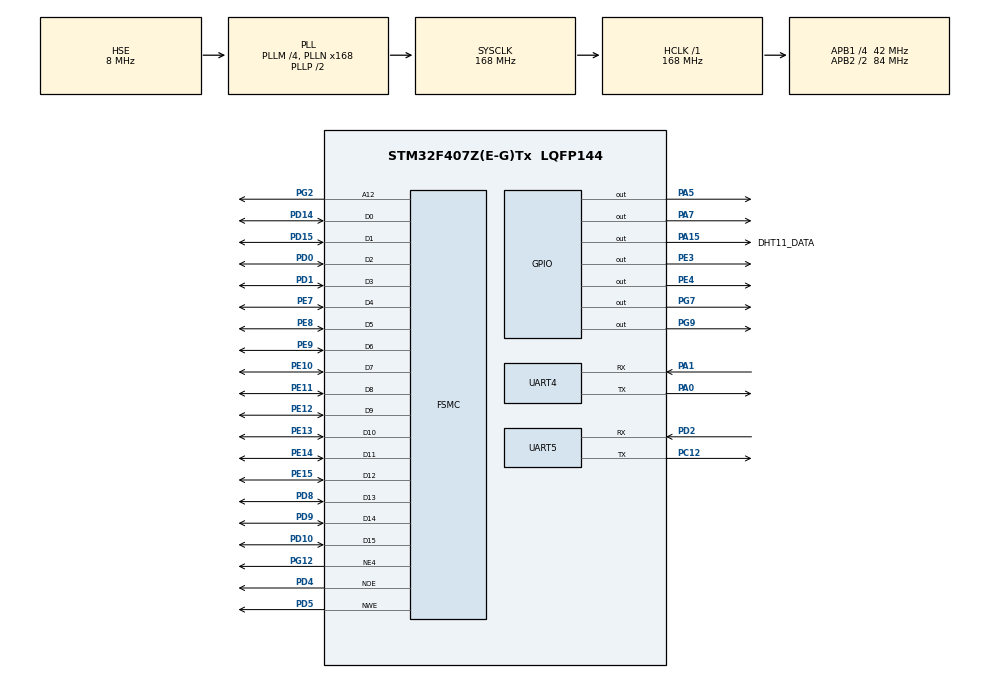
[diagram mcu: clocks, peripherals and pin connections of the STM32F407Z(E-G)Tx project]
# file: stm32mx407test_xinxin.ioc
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FSMC.BusTurnAroundDuration4=0
FSMC.DataSetupTime4=60
Mcu.Family=STM32F4
Mcu.Name=STM32F407Z(E-G)Tx
Mcu.Package=LQFP144
NVIC.PriorityGroup=NVIC_PRIORITYGROUP_4
NVIC.UART4_IRQn=true\:0\:0\:false\:false\:true\:true\:true\:true
NVIC.UART5_IRQn=true\:1\:0\:true\:false\:true\:true\:true\:true
PA0-WKUP.Mode=Asynchronous
PA0-WKUP.Signal=UART4_TX
PA1.Mode=Asynchronous
PA1.Signal=UART4_RX
PA13.Mode=Serial_Wire
PA13.Signal=SYS_JTMS-SWDIO
PA14.Mode=Serial_Wire
PA14.Signal=SYS_JTCK-SWCLK
PA15.GPIO_Label=DHT11_DATA
PA15.GPIO_ModeDefaultOutputPP=GPIO_MODE_OUTPUT_OD
PA15.GPIO_PuPd=GPIO_NOPULL
PA15.GPIO_Speed=GPIO_SPEED_FREQ_HIGH
PA15.PinState=GPIO_PIN_SET
PA15.Signal=GPIO_Output
PA5.PinState=GPIO_PIN_RESET
PA5.Signal=GPIO_Output
PA7.PinState=GPIO_PIN_RESET
PA7.Signal=GPIO_Output
PC12.Mode=Asynchronous
PC12.Signal=UART5_TX
PD0.Signal=FSMC_D2_DA2
PD1.Signal=FSMC_D3_DA3
PD10.Signal=FSMC_D15_DA15
PD14.Signal=FSMC_D0_DA0
PD15.Signal=FSMC_D1_DA1
PD2.Mode=Asynchronous
PD2.Signal=UART5_RX
PD4.Signal=FSMC_NOE
PD5.Signal=FSMC_NWE
PD8.Signal=FSMC_D13_DA13
PD9.Signal=FSMC_D14_DA14
PE10.Signal=FSMC_D7_DA7
PE11.Signal=FSMC_D8_DA8
PE12.Signal=FSMC_D9_DA9
PE13.Signal=FSMC_D10_DA10
PE14.Signal=FSMC_D11_DA11
PE15.Signal=FSMC_D12_DA12
PE3.PinState=GPIO_PIN_SET
PE3.Signal=GPIO_Output
PE4.PinState=GPIO_PIN_SET
PE4.Signal=GPIO_Output
PE7.Signal=FSMC_D4_DA4
PE8.Signal=FSMC_D5_DA5
PE9.Signal=FSMC_D6_DA6
PG12.Mode=NorPsramChipSelect4_4
PG12.Signal=FSMC_NE4
PG2.Signal=FSMC_A12
PG7.Signal=GPIO_Output
PG9.PinState=GPIO_PIN_SET
PG9.Signal=GPIO_Output
PH0-OSC_IN.Mode=HSE-External-Oscillator
PH0-OSC_IN.Signal=RCC_OSC_IN
PH1-OSC_OUT.Mode=HSE-External-Oscillator
PH1-OSC_OUT.Signal=RCC_OSC_OUT
ProjectManager.HeapSize=0x200
ProjectManager.StackSize=0x400
ProjectManager.TargetToolchain=CMake
RCC.48MHZClocksFreq_Value=84000000
RCC.AHBFreq_Value=168000000
RCC.APB1CLKDivider=RCC_HCLK_DIV4
RCC.APB1Freq_Value=42000000
RCC.APB1TimFreq_Value=84000000
RCC.APB2CLKDivider=RCC_HCLK_DIV2
RCC.APB2Freq_Value=84000000
RCC.APB2TimFreq_Value=168000000
RCC.CortexFreq_Value=168000000
RCC.EnbaleCSS=true
RCC.HCLKFreq_Value=168000000
RCC.HSE_VALUE=8000000
RCC.HSI_VALUE=16000000
RCC.LSE_VALUE=32768
RCC.PLLM=4
RCC.PLLN=168
RCC.PLLSourceVirtual=RCC_PLLSOURCE_HSE
RCC.SYSCLKFreq_VALUE=168000000
RCC.SYSCLKSource=RCC_SYSCLKSOURCE_PLLCLK
RCC.VCOOutputFreq_Value=336000000
SH.FSMC_A12.0=FSMC_A12,A12_4
SH.FSMC_D0_DA0.0=FSMC_D0,16b-d4
SH.FSMC_D10_DA10.0=FSMC_D10,16b-d4
SH.FSMC_D11_DA11.0=FSMC_D11,16b-d4
SH.FSMC_D12_DA12.0=FSMC_D12,16b-d4
SH.FSMC_D13_DA13.0=FSMC_D13,16b-d4
SH.FSMC_D14_DA14.0=FSMC_D14,16b-d4
SH.FSMC_D15_DA15.0=FSMC_D15,16b-d4
SH.FSMC_D1_DA1.0=FSMC_D1,16b-d4
SH.FSMC_D2_DA2.0=FSMC_D2,16b-d4
SH.FSMC_D3_DA3.0=FSMC_D3,16b-d4
SH.FSMC_D4_DA4.0=FSMC_D4,16b-d4
SH.FSMC_D5_DA5.0=FSMC_D5,16b-d4
SH.FSMC_D6_DA6.0=FSMC_D6,16b-d4
SH.FSMC_D7_DA7.0=FSMC_D7,16b-d4
SH.FSMC_D8_DA8.0=FSMC_D8,16b-d4
SH.FSMC_D9_DA9.0=FSMC_D9,16b-d4
SH.FSMC_NOE.0=FSMC_NOE,Lcd4
SH.FSMC_NWE.0=FSMC_NWE,Lcd4
UART4.VirtualMode=Asynchronous
UART5.VirtualMode=Asynchronous
board=custom

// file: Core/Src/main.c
/* USER CODE BEGIN Header */
/**
 ******************************************************************************
 * @file           : main.c
 * @brief          : Main program body
 ******************************************************************************
 * @attention
 *
 * Copyright (c) 2026 STMicroelectronics.
 * All rights reserved.
 *
 * This software is licensed under terms that can be found in the LICENSE file
 * in the root directory of this software component.
 * If no LICENSE file comes with this software, it is provided AS-IS.
 *
 ******************************************************************************
 */
/* USER CODE END Header */
#include "main.h"

/* USER CODE BEGIN Includes */
#include "app_config.h"
#include "app_device.h"
#include "app_onenet.h"
#include "app_ui.h"
#include "app_wifi.h"
#include "bsp_esp8266.h"
#include "lcd.h"
#include "usart.h"

/* USER CODE END Includes */

UART_HandleTypeDef huart4;
UART_HandleTypeDef huart5;

SRAM_HandleTypeDef hsram4;

void SystemClock_Config(void);
static void MX_GPIO_Init(void);
static void MX_FSMC_Init(void);
static void MX_UART4_Init(void);
static void MX_UART5_Init(void);

int main(void)
{

  /* MCU Configuration--------------------------------------------------------*/

  /* Reset of all peripherals, Initializes the Flash interface and the Systick. */
  HAL_Init();

  /* Configure the system clock */
  SystemClock_Config();

  /* Initialize all configured peripherals */
  MX_GPIO_Init();
  MX_FSMC_Init();
  MX_UART4_Init();
  MX_UART5_Init();
  /* USER CODE BEGIN 2 */
  /* 关掉 stdio 缓冲：printf 立刻出字，也避免 newlib 默认全缓冲占 RAM */
  setvbuf(stdout, NULL, _IONBF, 0);

  BSP_ESP8266_Init(&huart4); /* ESP8266 挂 UART4 */
  LCD_Init();                /* LCD 初始化（保持原来的调用位置） */
  printf("System boot\r\n");

  Device_Init(); /* 注册下行处理表 + 初始化可控外设 */

  /* 1. WiFi */
  UI_Boot();
  if (WIFI_Init() != WIFI_OK) {
    printf("[MAIN] ESP8266 无响应\r\n");
    UI_WifiFail("Module", WIFI_ERR_NO_MODULE, BSP_ESP8266_GetBuffer());
    while (1) {
    }
  }

  UI_WifiConnecting(APP_WIFI_SSID);
  if (WIFI_Connect(APP_WIFI_SSID, APP_WIFI_PWD) != WIFI_OK) {
    printf("[MAIN] 连 WiFi 失败\r\n");
    UI_WifiFail("WiFi", WIFI_ERR_CONNECT_FAIL, BSP_ESP8266_GetBuffer());
    while (1) {
    }
  }

  {
    char ip[24];
    if (WIFI_GetIP(ip, sizeof ip) != WIFI_OK) {
      printf("[MAIN] 拿 IP 失败\r\n");
      UI_WifiFail("IP", WIFI_ERR_NO_IP, BSP_ESP8266_GetBuffer());
      while (1) {
      }
    }
    printf("[MAIN] WiFi OK, IP=%s\r\n", ip);
    UI_WifiOk(ip);
  }

  /* 2. OneNET */
  UI_OnenetConnecting(APP_ONENET_PRODUCT_ID, APP_ONENET_DEVICE_ID);
  {
    ONENET_Status_t st =
        OneNET_MqttInit(APP_ONENET_PRODUCT_ID, APP_ONENET_DEVICE_ID,
                        APP_ONENET_TOKEN);
    if (st == ONENET_OK)
      st = OneNET_MqttConnect();
    if (st != ONENET_OK) {
      printf("[MAIN] OneNET 连接失败 st=%d\r\n", st);
      UI_OnenetFail("OneNET", st, BSP_ESP8266_GetBuffer());
      while (1) {
      }
    }
  }
  printf("[MAIN] OneNET 在线\r\n");
  UI_OnenetOk(APP_ONENET_DEVICE_ID);
  Device_ReportActuatorState(); /* 上报灯/蜂鸣器/风扇的真实状态（物模型有才发）*/

  /* USER CODE END 2 */

  /* Infinite loop */
  /* USER CODE BEGIN WHILE */
  while (1) {
    /* ---- 解析云端下行（LED / 蜂鸣器 / 风扇） ---- */
    OneNET_Poll();

    /* ---- DHT11 每 2 秒读一次（bsp_dht11 内部节流） ---- */
    DHT11_Task();

    /* ---- 每 APP_REPORT_PERIOD_MS 上报一次 ---- */
    static uint32_t last_report = 0;
    if (HAL_GetTick() - last_report >= APP_REPORT_PERIOD_MS) {
      last_report = HAL_GetTick();

      if (DHT11_Ok()) {
        DHT11_Data_t data = DHT11_GetData();
        UI_ShowTempHumi(&data);
        Device_ReportTempHumi();
      } else {
        UI_ShowTempFail();
        printf("[MAIN] DHT11 读取失败\r\n");
      }
    }
    /* USER CODE END WHILE */

  }
}

void SystemClock_Config(void)
{
  RCC_OscInitTypeDef RCC_OscInitStruct = {0};
  RCC_ClkInitTypeDef RCC_ClkInitStruct = {0};

  /** Configure the main internal regulator output voltage
  */
  __HAL_RCC_PWR_CLK_ENABLE();
  __HAL_PWR_VOLTAGESCALING_CONFIG(PWR_REGULATOR_VOLTAGE_SCALE1);

  /** Initializes the RCC Oscillators according to the specified parameters
  * in the RCC_OscInitTypeDef structure.
  */
  RCC_OscInitStruct.OscillatorType = RCC_OSCILLATORTYPE_HSE;
  RCC_OscInitStruct.HSEState = RCC_HSE_ON;
  RCC_OscInitStruct.PLL.PLLState = RCC_PLL_ON;
  RCC_OscInitStruct.PLL.PLLSource = RCC_PLLSOURCE_HSE;
  RCC_OscInitStruct.PLL.PLLM = 4;
  RCC_OscInitStruct.PLL.PLLN = 168;
  RCC_OscInitStruct.PLL.PLLP = RCC_PLLP_DIV2;
  RCC_OscInitStruct.PLL.PLLQ = 4;
  if (HAL_RCC_OscConfig(&RCC_OscInitStruct) != HAL_OK)
  {
    Error_Handler();
  }

  /** Initializes the CPU, AHB and APB buses clocks
  */
  RCC_ClkInitStruct.ClockType = RCC_CLOCKTYPE_HCLK|RCC_CLOCKTYPE_SYSCLK
                              |RCC_CLOCKTYPE_PCLK1|RCC_CLOCKTYPE_PCLK2;
  RCC_ClkInitStruct.SYSCLKSource = RCC_SYSCLKSOURCE_PLLCLK;
  RCC_ClkInitStruct.AHBCLKDivider = RCC_SYSCLK_DIV1;
  RCC_ClkInitStruct.APB1CLKDivider = RCC_HCLK_DIV4;
  RCC_ClkInitStruct.APB2CLKDivider = RCC_HCLK_DIV2;

  if (HAL_RCC_ClockConfig(&RCC_ClkInitStruct, FLASH_LATENCY_5) != HAL_OK)
  {
    Error_Handler();
  }

  /** Enables the Clock Security System
  */
  HAL_RCC_EnableCSS();
}

static void MX_UART4_Init(void)
{

  huart4.Instance = UART4;
  huart4.Init.BaudRate = 115200;
  huart4.Init.WordLength = UART_WORDLENGTH_8B;
  huart4.Init.StopBits = UART_STOPBITS_1;
  huart4.Init.Parity = UART_PARITY_NONE;
  huart4.Init.Mode = UART_MODE_TX_RX;
  huart4.Init.HwFlowCtl = UART_HWCONTROL_NONE;
  huart4.Init.OverSampling = UART_OVERSAMPLING_16;
  if (HAL_UART_Init(&huart4) != HAL_OK)
  {
    Error_Handler();
  }

}

static void MX_UART5_Init(void)
{

  huart5.Instance = UART5;
  huart5.Init.BaudRate = 115200;
  huart5.Init.WordLength = UART_WORDLENGTH_8B;
  huart5.Init.StopBits = UART_STOPBITS_1;
  huart5.Init.Parity = UART_PARITY_NONE;
  huart5.Init.Mode = UART_MODE_TX_RX;
  huart5.Init.HwFlowCtl = UART_HWCONTROL_NONE;
  huart5.Init.OverSampling = UART_OVERSAMPLING_16;
  if (HAL_UART_Init(&huart5) != HAL_OK)
  {
    Error_Handler();
  }

}

static void MX_GPIO_Init(void)
{
  GPIO_InitTypeDef GPIO_InitStruct = {0};

  /* GPIO Ports Clock Enable */
  __HAL_RCC_GPIOE_CLK_ENABLE();
  __HAL_RCC_GPIOH_CLK_ENABLE();
  __HAL_RCC_GPIOA_CLK_ENABLE();
  __HAL_RCC_GPIOD_CLK_ENABLE();
  __HAL_RCC_GPIOG_CLK_ENABLE();
  __HAL_RCC_GPIOC_CLK_ENABLE();

  /*Configure GPIO pin Output Level */
  HAL_GPIO_WritePin(GPIOE, GPIO_PIN_3|GPIO_PIN_4, GPIO_PIN_SET);

  /*Configure GPIO pin Output Level */
  HAL_GPIO_WritePin(GPIOA, GPIO_PIN_5|GPIO_PIN_7, GPIO_PIN_RESET);

  /*Configure GPIO pin Output Level */
  HAL_GPIO_WritePin(GPIOG, GPIO_PIN_7, GPIO_PIN_RESET);

  /*Configure GPIO pin Output Level */
  HAL_GPIO_WritePin(DHT11_DATA_GPIO_Port, DHT11_DATA_Pin, GPIO_PIN_SET);

  /*Configure GPIO pin Output Level */
  HAL_GPIO_WritePin(GPIOG, GPIO_PIN_9, GPIO_PIN_SET);

  /*Configure GPIO pins : PE3 PE4 */
  GPIO_InitStruct.Pin = GPIO_PIN_3|GPIO_PIN_4;
  GPIO_InitStruct.Mode = GPIO_MODE_OUTPUT_PP;
  GPIO_InitStruct.Pull = GPIO_NOPULL;
  GPIO_InitStruct.Speed = GPIO_SPEED_FREQ_LOW;
  HAL_GPIO_Init(GPIOE, &GPIO_InitStruct);

  /*Configure GPIO pins : PA5 PA7 */
  GPIO_InitStruct.Pin = GPIO_PIN_5|GPIO_PIN_7;
  GPIO_InitStruct.Mode = GPIO_MODE_OUTPUT_PP;
  GPIO_InitStruct.Pull = GPIO_NOPULL;
  GPIO_InitStruct.Speed = GPIO_SPEED_FREQ_LOW;
  HAL_GPIO_Init(GPIOA, &GPIO_InitStruct);

  /*Configure GPIO pins : PG7 PG9 */
  GPIO_InitStruct.Pin = GPIO_PIN_7|GPIO_PIN_9;
  GPIO_InitStruct.Mode = GPIO_MODE_OUTPUT_PP;
  GPIO_InitStruct.Pull = GPIO_NOPULL;
  GPIO_InitStruct.Speed = GPIO_SPEED_FREQ_LOW;
  HAL_GPIO_Init(GPIOG, &GPIO_InitStruct);

  /*Configure GPIO pin : DHT11_DATA_Pin */
  GPIO_InitStruct.Pin = DHT11_DATA_Pin;
  GPIO_InitStruct.Mode = GPIO_MODE_OUTPUT_OD;
  GPIO_InitStruct.Pull = GPIO_NOPULL;
  GPIO_InitStruct.Speed = GPIO_SPEED_FREQ_HIGH;
  HAL_GPIO_Init(DHT11_DATA_GPIO_Port, &GPIO_InitStruct);

}

/* FSMC initialization function */
static void MX_FSMC_Init(void)
{

  FSMC_NORSRAM_TimingTypeDef Timing = {0};

  /** Perform the SRAM4 memory initialization sequence
  */
  hsram4.Instance = FSMC_NORSRAM_DEVICE;
  hsram4.Extended = FSMC_NORSRAM_EXTENDED_DEVICE;
  /* hsram4.Init */
  hsram4.Init.NSBank = FSMC_NORSRAM_BANK4;
  hsram4.Init.DataAddressMux = FSMC_DATA_ADDRESS_MUX_DISABLE;
  hsram4.Init.MemoryType = FSMC_MEMORY_TYPE_SRAM;
  hsram4.Init.MemoryDataWidth = FSMC_NORSRAM_MEM_BUS_WIDTH_16;
  hsram4.Init.BurstAccessMode = FSMC_BURST_ACCESS_MODE_DISABLE;
  hsram4.Init.WaitSignalPolarity = FSMC_WAIT_SIGNAL_POLARITY_LOW;
  hsram4.Init.WrapMode = FSMC_WRAP_MODE_DISABLE;
  hsram4.Init.WaitSignalActive = FSMC_WAIT_TIMING_BEFORE_WS;
  hsram4.Init.WriteOperation = FSMC_WRITE_OPERATION_ENABLE;
  hsram4.Init.WaitSignal = FSMC_WAIT_SIGNAL_DISABLE;
  hsram4.Init.ExtendedMode = FSMC_EXTENDED_MODE_DISABLE;
  hsram4.Init.AsynchronousWait = FSMC_ASYNCHRONOUS_WAIT_DISABLE;
  hsram4.Init.WriteBurst = FSMC_WRITE_BURST_DISABLE;
  hsram4.Init.PageSize = FSMC_PAGE_SIZE_NONE;
  /* Timing */
  Timing.AddressSetupTime = 15;
  Timing.AddressHoldTime = 15;
  Timing.DataSetupTime = 60;
  Timing.BusTurnAroundDuration = 0;
  Timing.CLKDivision = 16;
  Timing.DataLatency = 17;
  Timing.AccessMode = FSMC_ACCESS_MODE_A;
  /* ExtTiming */

  if (HAL_SRAM_Init(&hsram4, &Timing, NULL) != HAL_OK)
  {
    Error_Handler( );
  }

}

void Error_Handler(void)
{
  __disable_irq();
  while (1) {
  }
}
#ifdef USE_FULL_ASSERT
/**
  * @brief  Reports the name of the source file and the source line number
  *         where the assert_param error has occurred.
  * @param  file: pointer to the source file name
  * @param  line: assert_param error line source number
  * @retval None
  */
void assert_failed(uint8_t *file, uint32_t line)
{
  /* USER CODE BEGIN 6 */
  /* User can add his own implementation to report the file name and line
     number, ex: printf("Wrong parameters value: file %s on line %d\r\n", file,
     line) */
  /* USER CODE END 6 */
}
#endif /* USE_FULL_ASSERT */
